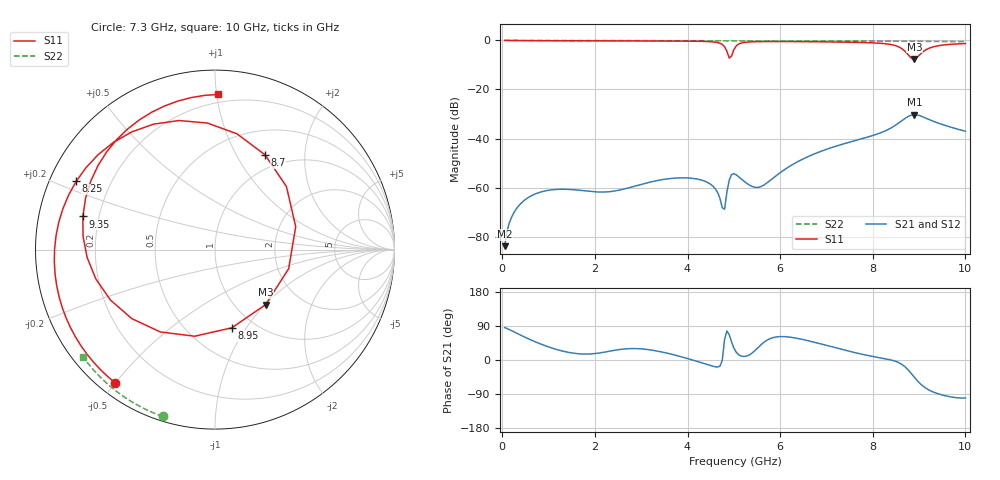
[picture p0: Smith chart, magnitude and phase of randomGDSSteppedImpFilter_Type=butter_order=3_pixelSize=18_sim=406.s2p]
! freq	dB(S11)	phase(S11)	dB(S12)	phase(S12)
!  dB(S21)	phase(S21)	dB(S22)	phase(S22)
!S-par simulation data
#  GHz  S  DB  R 50
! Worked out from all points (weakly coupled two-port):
!   200 points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, 50 MHz to 10 GHz, reference 50 ohm
!   highest |S21| = -30.28 dB at 8.9 GHz (marker M1); lowest = -83.9 dB at 50 MHz (marker M2)
!   lowest |S11| = -7.6 dB at 8.9 GHz (marker M3), VSWR 2.43, Z = 67.9 - j50.3 ohm
!   |S11| at or under -10 dB: nowhere
!   |S22| runs from -0.5 to 0.0 dB; largest |S21 - S12| = 0
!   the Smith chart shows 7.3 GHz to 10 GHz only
!   S11 on the Smith chart (normalised r, x): 7.3 GHz: 0.05, -0.50; 8.25 GHz: 0.08, +0.23; 8.7 GHz: 0.80, +1.32; 8.95 GHz: 0.79, -0.86; 9.35 GHz: 0.14, +0.12; 10 GHz: 0.15, +1.01
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0.05  -0.00 -5.6  -83.91 85.4  -83.91 85.4  -0.00 -0.8
0.8  -0.10 -83.2  -61.99 43.6  -61.99 43.6  -0.02 -13.0
1.75  -0.14 -158.8  -61.28 15.8  -61.28 15.8  -0.04 -28.2
2.5  -0.17 152.8  -61.15 27.1  -61.15 27.1  -0.05 -39.9
3.4  -0.21 97.3  -56.95 22.3  -56.95 22.3  -0.07 -53.6
4.05  -0.29 53.8  -56.14 2.1  -56.14 2.1  -0.09 -63.1
4.55  -0.59 8.9  -59.47 -16.5  -59.47 -16.5  -0.10 -70.3
4.8  -2.55 -49.6  -68.86 54.2  -68.86 54.2  -0.11 -73.9
4.85  -4.40 -81.6  -61.92 76.7  -61.92 76.7  -0.11 -74.6
4.95  -6.41 142.3  -54.70 48.0  -54.70 48.0  -0.12 -76.0
5.05  -2.27 67.2  -54.79 20.8  -54.79 20.8  -0.12 -77.4
5.2  -0.89 28.4  -57.11 9.4  -57.11 9.4  -0.12 -79.4
5.5  -0.49 -6.2  -59.97 30.0  -59.97 30.0  -0.14 -83.6
6.7  -0.52 -88.4  -46.58 48.1  -46.58 48.1  -0.19 -99.6
7.3  -0.65 -126.9  -42.57 29.0  -42.57 29.0  -0.23 -107.3
8.25  -1.29 153.8  -37.05 3.8  -37.05 3.8  -0.30 -119.3
8.35  -1.53 140.8  -36.15 1.4  -36.15 1.4  -0.31 -120.5
8.7  -4.48 62.2  -31.76 -18.4  -31.76 -18.4  -0.34 -124.9
8.9  -7.61 -47.3  -30.28 -45.8  -30.28 -45.8  -0.36 -127.4
8.95  -7.02 -77.8  -30.36 -53.0  -30.36 -53.0  -0.36 -128.0
9.35  -2.39 165.9  -33.28 -86.5  -33.28 -86.5  -0.40 -132.9
10  -1.26 88.8  -37.01 -100.4  -37.01 -100.4  -0.48 -140.9
